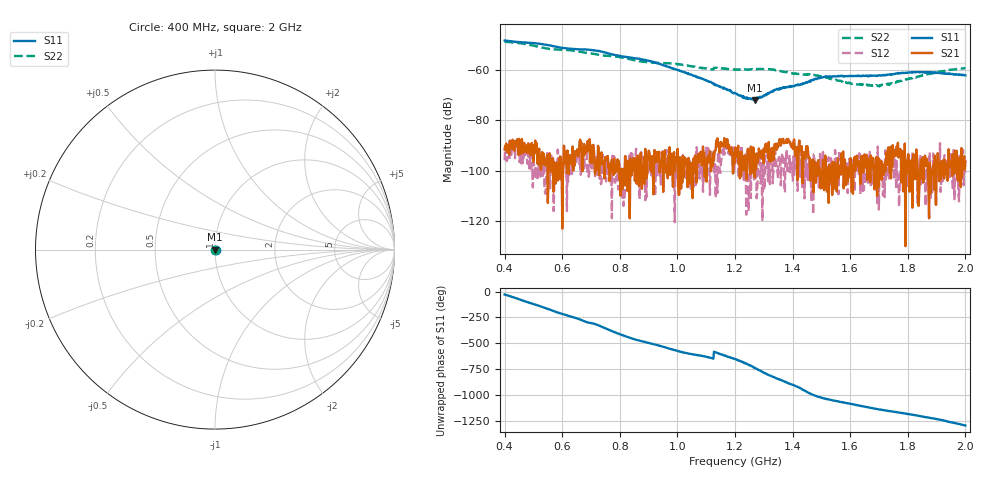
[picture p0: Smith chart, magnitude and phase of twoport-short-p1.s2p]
! PocketVna 1.60  pocketvna.com
! Live measurements ((Reflection-S11, Transmission-S21, Transmission-S12, Reflection-S22) Linear 400000000-2000000000/800 non-calibrated)
# Hz S RI R 50
! Hz  ReS11  ImS11  ReS21  ImS21  ReS12  ImS12  ReS22  ImS22
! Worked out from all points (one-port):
!   800 points, 400 MHz to 2 GHz, reference 50 ohm
!   lowest |S11| = -71.9 dB at 1.269 GHz (marker M1), VSWR 1.00, Z = 50 - j0.00884 ohm
!   |S11| at or under -10 dB: start of sweep to end of sweep
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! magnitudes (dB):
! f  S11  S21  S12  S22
! 400 MHz  -48.3  -91.5  -95.9  -48.8
! 466.1 MHz  -49.1  -90.2  -95.6  -49.6
! 554.2 MHz  -50.2  -96.3  -100.9  -51.6
! 668.3 MHz  -51.8  -98.3  -95.1  -52.9
! 730.4 MHz  -52.5  -93.1  -103.2  -54.1
! 934.7 MHz  -57.4  -95.5  -95.4  -57.2
! 1.003 GHz  -60.1  -106.4  -102.8  -57.6
! 1.117 GHz  -64.8  -100.1  -91.4  -59.7
! 1.135 GHz  -65.9  -88.0  -104.9  -59.1
! 1.201 GHz  -69.2  -90.8  -97.4  -59.9
! 1.239 GHz  -70.9  -102.2  -117.4  -59.8
! 1.269 GHz  -71.9  -102.6  -98.4  -59.7
! 1.341 GHz  -67.8  -89.3  -96.4  -60.2
! 1.429 GHz  -65.5  -92.1  -96.3  -61.7
! 1.467 GHz  -64.1  -99.2  -98.4  -62.0
! 1.515 GHz  -62.5  -95.8  -103.2  -63.0
! 1.606 GHz  -62.4  -108.4  -96.8  -65.5
! 1.694 GHz  -62.4  -110.0  -112.7  -66.2
! 1.734 GHz  -61.9  -94.7  -102.6  -65.6
! 1.84 GHz  -60.9  -107.3  -97.9  -62.5
! 1.946 GHz  -61.4  -98.6  -102.9  -60.0
! 2 GHz  -62.1  -96.3  -100.7  -59.4
